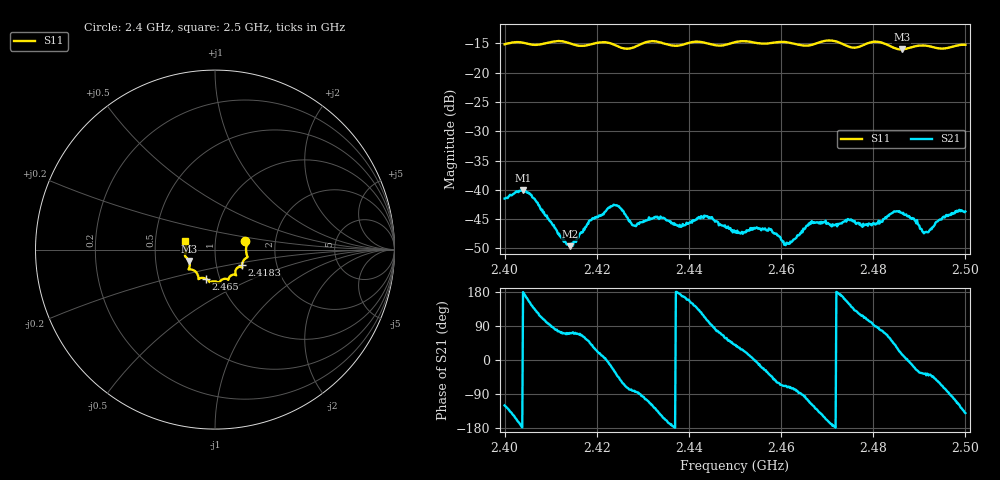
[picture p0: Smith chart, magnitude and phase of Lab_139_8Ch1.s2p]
# Hz S RI R
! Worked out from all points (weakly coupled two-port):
!   601 points, 2.4 GHz to 2.5 GHz, reference 50 ohm
!   highest |S21| = -40.05 dB at 2.404 GHz (marker M1); lowest = -49.6 dB at 2.4142 GHz (marker M2)
!   lowest |S11| = -16.0 dB at 2.4862 GHz (marker M3), VSWR 1.37, Z = 37.1 - j4.84 ohm
!   |S11| at or under -10 dB: start of sweep to end of sweep
!   S12 and S22 are empty: the file has one direction only
!   S11 on the Smith chart (normalised r, x): 2.4 GHz: 1.40, +0.13; 2.4183 GHz: 1.33, -0.24; 2.465 GHz: 0.86, -0.29; 2.5 GHz: 0.71, +0.07
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2.4e9  0.1689 0.0455  -0.00418 -0.00731  0 0  0 0
2.404e9  0.1784 0.0269  -0.00994 0.000162  0 0  0 0
2.414167e9  0.1715 -0.048  0.00105 0.00313  0 0  0 0
2.416667e9  0.1551 -0.0685  0.00177 0.00399  0 0  0 0
2.418333e9  0.1498 -0.087  0.0036 0.0041  0 0  0 0
2.424e9  0.1422 -0.096  0.00622 -0.00396  0 0  0 0
2.428167e9  0.1134 -0.1204  0.000749 -0.00488  0 0  0 0
2.433333e9  0.1167 -0.1414  -0.0042 -0.00394  0 0  0 0
2.438e9  0.0822 -0.15  -0.005 0.000512  0 0  0 0
2.443833e9  0.069 -0.1648  -0.00166 0.00573  0 0  0 0
2.45e9  0.025 -0.1806  0.00335 0.00274  0 0  0 0
2.4575e9  -0.0143 -0.1777  0.00361 -0.00291  0 0  0 0
2.461167e9  -0.0306 -0.1798  0.00124 -0.0033  0 0  0 0
2.465e9  -0.0527 -0.162  -0.000501 -0.00458  0 0  0 0
2.466667e9  -0.0712 -0.1576  -0.00245 -0.00481  0 0  0 0
2.474833e9  -0.1007 -0.1323  -0.00464 0.00304  0 0  0 0
2.477833e9  -0.1312 -0.1112  -0.00222 0.00463  0 0  0 0
2.483333e9  -0.1418 -0.0959  0.00296 0.00518  0 0  0 0
2.486167e9  -0.1445 -0.0636  0.00614 0.00174  0 0  0 0
2.491333e9  -0.1674 -0.0315  0.00353 -0.00254  0 0  0 0
2.4955e9  -0.1609 0.0106  0.00145 -0.00561  0 0  0 0
2.5e9  -0.1665 0.0472  -0.00501 -0.00418  0 0  0 0
